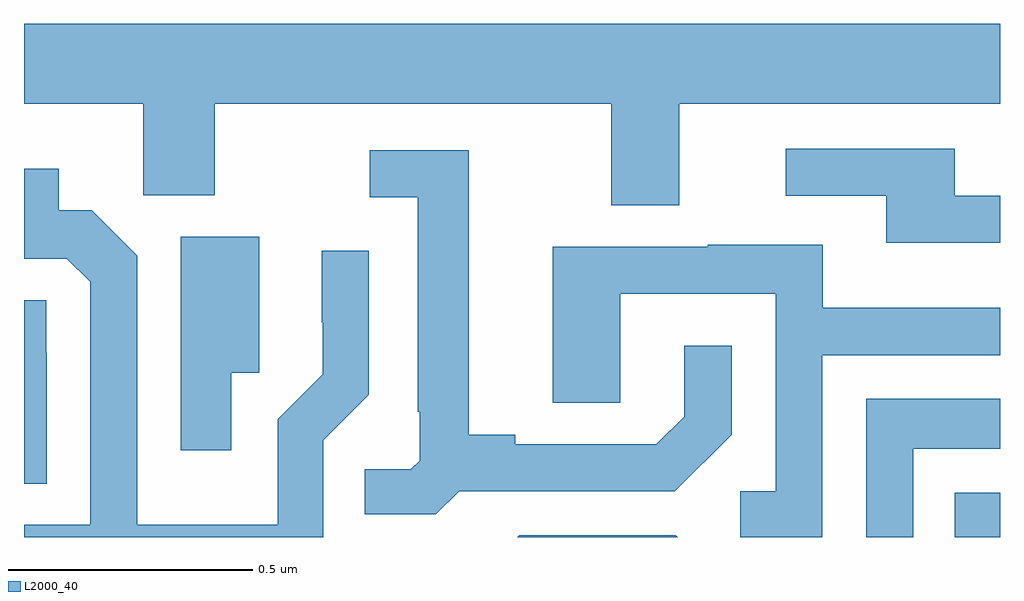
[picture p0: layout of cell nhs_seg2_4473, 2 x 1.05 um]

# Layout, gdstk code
import gdstk
lib = gdstk.Library(unit=1e-6, precision=1e-09)
def R(c, l, rs):  # rectangles x0, y0, x1, y1
    for r in rs: c.add(gdstk.rectangle(r[:2], r[2:], *l))
def P(c, l, *ps):  # polygons
    for p in ps: c.add(gdstk.Polygon(p, *l))
L2000_40 = (2000, 40)

nhs_seg2_4473 = lib.new_cell('nhs_seg2_4473')
R(nhs_seg2_4473, L2000_40, [(168.907,594.8,169,594.891)])
P(nhs_seg2_4473, L2000_40, [(168.343,595.688),(169,595.688),(169,595.852),(167,595.852),(167,595.688),(167.244,595.688),(167.244,595.501),(167.391,595.501),(167.391,595.688),(168.203,595.688),(168.203,595.48),(168.343,595.48)],
  [(169,595.5),(168.907,595.5),(168.907,595.596),(168.561,595.596),(168.561,595.5),(168.767,595.5),(168.767,595.403),(169,595.403)],
  [(167.892,594.894),(168.334,594.894),(168.45,595.01),(168.45,595.192),(168.353,595.192),(168.353,595.047),(168.296,594.99),(168.007,594.99),(168.007,595.01),(167.911,595.01),(167.911,595.593),(167.709,595.593),(167.709,595.497),(167.807,595.497),(167.807,595.057),(167.811,595.057),(167.811,594.957),(167.793,594.939),(167.698,594.939),(167.698,594.847),(167.844,594.847)],
  [(167.613,594.999),(167.706,595.092),(167.706,595.387),(167.61,595.387),(167.61,595.24),(167.612,595.24),(167.612,595.134),(167.52,595.042),(167.52,594.826),(167.232,594.826),(167.232,595.377),(167.139,595.47),(167.071,595.47),(167.071,595.555),(167,595.555),(167,595.371),(167.088,595.371),(167.136,595.323),(167.136,594.825),(167,594.825),(167,594.8),(167.613,594.8)],
  [(167.425,595.137),(167.482,595.137),(167.482,595.416),(167.321,595.416),(167.321,594.978),(167.425,594.978)],
  [(168.636,595.173),(169,595.173),(169,595.27),(168.637,595.27),(168.637,595.399),(168.401,595.399),(168.401,595.395),(168.083,595.395),(168.083,595.075),(168.222,595.075),(168.222,595.299),(168.54,595.299),(168.54,594.894),(168.468,594.894),(168.468,594.8),(168.636,594.8)],
  [(167.047,595.178),(167.046,595.178),(167.046,595.286),(167,595.286),(167,594.91),(167.047,594.91)],
  [(168.822,594.981),(169,594.981),(169,595.084),(168.726,595.084),(168.726,594.8),(168.822,594.8)],
  [(168.336,594.804),(168.015,594.804),(168.011,594.8),(168.34,594.8)])

lib.write_gds('nhs_seg2_4473.gds')
